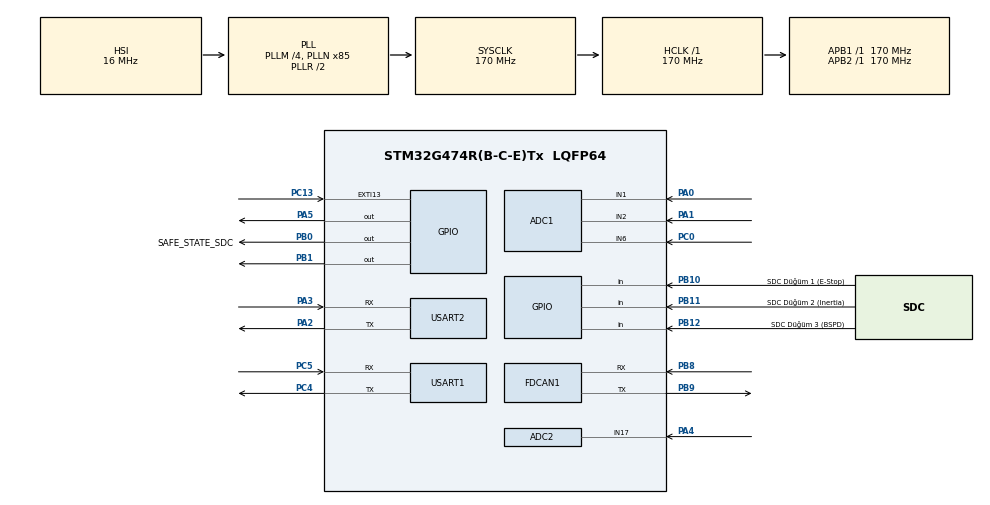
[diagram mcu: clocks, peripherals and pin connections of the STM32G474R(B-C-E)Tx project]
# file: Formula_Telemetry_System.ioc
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ADC1.Channel-0\#ChannelRegularConversion=ADC_CHANNEL_TEMPSENSOR_ADC1
ADC1.NbrOfConversionFlag=1
ADC1.OffsetNumber-0\#ChannelRegularConversion=ADC_OFFSET_NONE
ADC1.Rank-0\#ChannelRegularConversion=1
ADC1.SamplingTime-0\#ChannelRegularConversion=ADC_SAMPLETIME_92CYCLES_5
ADC1.master=1
ADC2.Channel-0\#ChannelRegularConversion=ADC_CHANNEL_17
ADC2.NbrOfConversionFlag=1
ADC2.OffsetNumber-0\#ChannelRegularConversion=ADC_OFFSET_NONE
ADC2.Rank-0\#ChannelRegularConversion=1
ADC2.SamplingTime-0\#ChannelRegularConversion=ADC_SAMPLETIME_2CYCLES_5
Dma.Request0=USART1_TX
Dma.USART1_TX.0.Direction=DMA_MEMORY_TO_PERIPH
Dma.USART1_TX.0.EventEnable=DISABLE
Dma.USART1_TX.0.Instance=DMA1_Channel1
Dma.USART1_TX.0.MemDataAlignment=DMA_MDATAALIGN_BYTE
Dma.USART1_TX.0.MemInc=DMA_MINC_ENABLE
Dma.USART1_TX.0.Mode=DMA_NORMAL
Dma.USART1_TX.0.PeriphDataAlignment=DMA_PDATAALIGN_BYTE
Dma.USART1_TX.0.PeriphInc=DMA_PINC_DISABLE
Dma.USART1_TX.0.Polarity=HAL_DMAMUX_REQ_GEN_RISING
Dma.USART1_TX.0.Priority=DMA_PRIORITY_LOW
Dma.USART1_TX.0.RequestNumber=1
Dma.USART1_TX.0.SignalID=NONE
Dma.USART1_TX.0.SyncEnable=DISABLE
Dma.USART1_TX.0.SyncPolarity=HAL_DMAMUX_SYNC_NO_EVENT
Dma.USART1_TX.0.SyncRequestNumber=1
Dma.USART1_TX.0.SyncSignalID=NONE
FDCAN1.CalculateBaudRateNominal=3541666
FDCAN1.CalculateTimeBitNominal=282
FDCAN1.CalculateTimeQuantumNominal=94.11764705882354
Mcu.Family=STM32G4
Mcu.Name=STM32G474R(B-C-E)Tx
Mcu.Package=LQFP64
NUCLEO-G474RE.BUTTON=1
NUCLEO-G474RE.LD2=true
NUCLEO-G474RE.VCP=true
NVIC.DMA1_Channel1_IRQn=true\:0\:0\:false\:false\:true\:false\:true\:true
NVIC.EXTI15_10_IRQn=true\:0\:0\:false\:false\:true\:true\:true\:true
NVIC.PriorityGroup=NVIC_PRIORITYGROUP_4
NVIC.TIM3_IRQn=true\:0\:0\:false\:false\:true\:true\:true\:true
NVIC.USART1_IRQn=true\:0\:0\:false\:false\:true\:true\:true\:true
PA0.Mode=IN1-Single-Ended
PA0.Signal=ADC1_IN1
PA1.Mode=IN2-Single-Ended
PA1.Signal=ADC1_IN2
PA13.GPIO_Label=T_SWDIO
PA13.Signal=SYS_JTMS-SWDIO
PA14.GPIO_Label=T_SWCLK
PA14.Signal=SYS_JTCK-SWCLK
PA2.Mode=Asynchronous
PA2.Signal=USART2_TX
PA3.Mode=Asynchronous
PA3.Signal=USART2_RX
PA4.Mode=IN17-Single-Ended
PA4.Signal=ADC2_IN17
PA5.Signal=GPIO_Output
PA5.Stacked=true
PB0.GPIO_Label=SAFE_STATE_SDC
PB0.Signal=GPIO_Output
PB1.Signal=GPIO_Output
PB10.GPIO_Label=SDC D\u00FC\u011F\u00FCm 1 (E-Stop)
PB10.Signal=GPIO_Input
PB11.GPIO_Label=SDC D\u00FC\u011F\u00FCm 2 (Inertia)
PB11.Signal=GPIO_Input
PB12.GPIO_Label=SDC D\u00FC\u011F\u00FCm 3 (BSPD)
PB12.Signal=GPIO_Input
PB3.GPIO_Label=T_SWO
PB3.Signal=SYS_JTDO-SWO
PB8-BOOT0.Mode=FDCAN_Activate
PB8-BOOT0.Signal=FDCAN1_RX
PB9.Mode=FDCAN_Activate
PB9.Signal=FDCAN1_TX
PC0.Mode=IN6-Single-Ended
PC0.Signal=ADC1_IN6
PC10.Signal=USART3_TX
PC11.Signal=USART3_RX
PC13.Signal=GPXTI13
PC14-OSC32_IN.GPIO_Label=RCC_OSC32_IN
PC14-OSC32_IN.Signal=RCC_OSC32_IN
PC15-OSC32_OUT.GPIO_Label=RCC_OSC32_OUT
PC15-OSC32_OUT.Signal=RCC_OSC32_OUT
PC4.Mode=Asynchronous
PC4.Signal=USART1_TX
PC5.Mode=Asynchronous
PC5.Signal=USART1_RX
PF0-OSC_IN.GPIO_Label=RCC_OSC_IN
PF0-OSC_IN.Signal=RCC_OSC_IN
PF1-OSC_OUT.GPIO_Label=RCC_OSC_OUT
PF1-OSC_OUT.Signal=RCC_OSC_OUT
ProjectManager.HeapSize=0x200
ProjectManager.StackSize=0x400
ProjectManager.TargetToolchain=STM32CubeIDE
RCC.ADC12Freq_Value=170000000
RCC.ADC345Freq_Value=170000000
RCC.AHBFreq_Value=170000000
RCC.APB1Freq_Value=170000000
RCC.APB1TimFreq_Value=170000000
RCC.APB2Freq_Value=170000000
RCC.APB2TimFreq_Value=170000000
RCC.CortexFreq_Value=170000000
RCC.EXTERNAL_CLOCK_VALUE=12288000
RCC.HCLKFreq_Value=170000000
RCC.HSE_VALUE=24000000
RCC.HSI48_VALUE=48000000
RCC.HSI_VALUE=16000000
RCC.LSE_VALUE=32768
RCC.PLLM=RCC_PLLM_DIV4
RCC.PLLN=85
RCC.RTCClockSelection=RCC_RTCCLKSOURCE_LSE
RCC.SYSCLKFreq_VALUE=170000000
RCC.SYSCLKSource=RCC_SYSCLKSOURCE_PLLCLK
RCC.USBFreq_Value=170000000
RCC.VCOOutputFreq_Value=340000000
TIM3.PeriodNoDither=999
TIM3.Prescaler=169
USART1.VirtualMode-Asynchronous=VM_ASYNC
VP_ADC1_TempSens_Input.Mode=IN-TempSens
VP_NUCLEO-G474RE_VS_BSP_COMMON.Mode=COMMON
VP_SYS_VS_DBSignals.Mode=DisableDeadBatterySignals
VP_TIM3_VS_ClockSourceINT.Mode=Internal
board=NUCLEO-G474RE

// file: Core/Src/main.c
/* USER CODE BEGIN Header */
/**
  ******************************************************************************
  * @file           : main.c
  * @brief          : Main program body - APPS T11.8 & DMA Telemetry Pipeline
  ******************************************************************************
  * @attention
  *
  * Copyright (c) 2026 STMicroelectronics.
  * All rights reserved.
  ******************************************************************************
  */
/* USER CODE END Header */
#include "main.h"

/* USER CODE BEGIN Includes */
#include <stdio.h>
#include <string.h>
#include <stdbool.h>
#include "app_config.h"
#include "telemetry.h"
#include "pedal.h"
#include "safety.h"
#include "simulation.h"
/* USER CODE END Includes */

COM_InitTypeDef BspCOMInit;
ADC_HandleTypeDef hadc1;
ADC_HandleTypeDef hadc2;

FDCAN_HandleTypeDef hfdcan1;

TIM_HandleTypeDef htim3;

UART_HandleTypeDef huart1;
DMA_HandleTypeDef hdma_usart1_tx;

/* USER CODE BEGIN PV */
/* DMA & Zamanlama Değişkenleri */
volatile uint8_t dma_tx_busy = 0;
uint32_t         last_tx_time = 0;

/* Analog Sensör Değişkenleri */
uint16_t adc1_raw_apps1 = 0;
uint16_t adc1_raw_apps2 = 0;

/* T11.8 Güvenlik & Simülasyon Değişkenleri */
volatile uint16_t sim_raw_apps1 = 2250;
volatile uint16_t sim_raw_apps2 = 2250;
volatile uint8_t  apps1_pct = 0;
volatile uint8_t  apps2_pct = 0;

SimVehicleState_t sim_state;
/* USER CODE END PV */

void SystemClock_Config(void);
static void MX_GPIO_Init(void);
static void MX_DMA_Init(void);
static void MX_USART1_UART_Init(void);
static void MX_ADC1_Init(void);
static void MX_ADC2_Init(void);
static void MX_FDCAN1_Init(void);
static void MX_TIM3_Init(void);
/* USER CODE BEGIN PFP */
uint16_t Read_ADC_Channel(ADC_HandleTypeDef *hadc, uint32_t channel);
/* USER CODE END PFP */

/* USER CODE BEGIN 0 */
/**
 * @brief  Tekli ADC kanalı okuma yardımcı fonksiyonu
 */
uint16_t Read_ADC_Channel(ADC_HandleTypeDef *hadc, uint32_t channel)
{
    ADC_ChannelConfTypeDef sConfig = {0};
    sConfig.Channel = channel;
    sConfig.Rank = ADC_REGULAR_RANK_1;
    sConfig.SamplingTime = ADC_SAMPLETIME_92CYCLES_5;
    sConfig.SingleDiff = ADC_SINGLE_ENDED;
    sConfig.OffsetNumber = ADC_OFFSET_NONE;

    HAL_ADC_ConfigChannel(hadc, &sConfig);
    HAL_ADC_Start(hadc);
    HAL_ADC_PollForConversion(hadc, 10);
    uint16_t val = (uint16_t)HAL_ADC_GetValue(hadc);
    HAL_ADC_Stop(hadc);
    return val;
}
/* USER CODE END 0 */

int main(void)
{
  /* MCU Configuration--------------------------------------------------------*/
  HAL_Init();
  SystemClock_Config();

  /* Initialize all configured peripherals */
  MX_GPIO_Init();
  MX_DMA_Init();
  MX_USART1_UART_Init();
  MX_ADC1_Init();
  MX_ADC2_Init();
  MX_FDCAN1_Init();
  MX_TIM3_Init();

  /* USER CODE BEGIN 2 */
  Telemetry_Init();
  Pedal_Init();
  Safety_Init();
  Simulation_Init(&sim_state);

  // Başlangıçta Safe State devresini aktif yap (3.3V Sürüş İzni)
  HAL_GPIO_WritePin(GPIOB, GPIO_PIN_0, GPIO_PIN_SET);

  // TIM3 1 ms Donanımsal Emniyet Kesmesini Başlat
  HAL_TIM_Base_Start_IT(&htim3);
  /* USER CODE END 2 */

  /* Initialize led */
  BSP_LED_Init(LED_GREEN);

  /* Initialize USER push-button */
  BSP_PB_Init(BUTTON_USER, BUTTON_MODE_EXTI);

  /* Initialize COM1 port */
  BspCOMInit.BaudRate   = 115200;
  BspCOMInit.WordLength = COM_WORDLENGTH_8B;
  BspCOMInit.StopBits   = COM_STOPBITS_1;
  BspCOMInit.Parity     = COM_PARITY_NONE;
  BspCOMInit.HwFlowCtl  = COM_HWCONTROL_NONE;
  if (BSP_COM_Init(COM1, &BspCOMInit) != BSP_ERROR_NONE)
  {
    Error_Handler();
  }

  /* Infinite loop */
  while (1)
  {

    /* USER CODE BEGIN 3 */
    // 50 ms (20 Hz) Asenkron DMA Telemetri Gönderim Döngüsü
    if (HAL_GetTick() - last_tx_time >= TELEMETRY_PERIOD_MS)
    {
        last_tx_time = HAL_GetTick();

        // 1. Simülasyon adımını ilerlet
        Simulation_Step(&sim_state);

        // 2. DMA hattı boşsa paketi hazırla ve gönder
        if (dma_tx_busy == 0)
        {
            Telemetry_PrepareFrame(sim_state.rpm, (uint8_t)sim_state.speed,
                                   sim_state.gear, sim_state.tps);
            dma_tx_busy = 1;

            HAL_UART_Transmit_DMA(&huart1, tx_raw_buf, sizeof(tx_raw_buf));
            HAL_GPIO_TogglePin(GPIOA, GPIO_PIN_5);
        }
    }
  }
  /* USER CODE END 3 */
}

void SystemClock_Config(void)
{
  RCC_OscInitTypeDef RCC_OscInitStruct = {0};
  RCC_ClkInitTypeDef RCC_ClkInitStruct = {0};

  HAL_PWREx_ControlVoltageScaling(PWR_REGULATOR_VOLTAGE_SCALE1_BOOST);

  RCC_OscInitStruct.OscillatorType = RCC_OSCILLATORTYPE_HSI;
  RCC_OscInitStruct.HSIState = RCC_HSI_ON;
  RCC_OscInitStruct.HSICalibrationValue = RCC_HSICALIBRATION_DEFAULT;
  RCC_OscInitStruct.PLL.PLLState = RCC_PLL_ON;
  RCC_OscInitStruct.PLL.PLLSource = RCC_PLLSOURCE_HSI;
  RCC_OscInitStruct.PLL.PLLM = RCC_PLLM_DIV4;
  RCC_OscInitStruct.PLL.PLLN = 85;
  RCC_OscInitStruct.PLL.PLLP = RCC_PLLP_DIV2;
  RCC_OscInitStruct.PLL.PLLQ = RCC_PLLQ_DIV2;
  RCC_OscInitStruct.PLL.PLLR = RCC_PLLR_DIV2;
  if (HAL_RCC_OscConfig(&RCC_OscInitStruct) != HAL_OK)
  {
    Error_Handler();
  }

  RCC_ClkInitStruct.ClockType = RCC_CLOCKTYPE_HCLK|RCC_CLOCKTYPE_SYSCLK
                              |RCC_CLOCKTYPE_PCLK1|RCC_CLOCKTYPE_PCLK2;
  RCC_ClkInitStruct.SYSCLKSource = RCC_SYSCLKSOURCE_PLLCLK;
  RCC_ClkInitStruct.AHBCLKDivider = RCC_SYSCLK_DIV1;
  RCC_ClkInitStruct.APB1CLKDivider = RCC_HCLK_DIV1;
  RCC_ClkInitStruct.APB2CLKDivider = RCC_HCLK_DIV1;

  if (HAL_RCC_ClockConfig(&RCC_ClkInitStruct, FLASH_LATENCY_4) != HAL_OK)
  {
    Error_Handler();
  }
}

static void MX_ADC1_Init(void)
{
  ADC_MultiModeTypeDef multimode = {0};
  ADC_ChannelConfTypeDef sConfig = {0};

  hadc1.Instance = ADC1;
  hadc1.Init.ClockPrescaler = ADC_CLOCK_SYNC_PCLK_DIV4;
  hadc1.Init.Resolution = ADC_RESOLUTION_12B;
  hadc1.Init.DataAlign = ADC_DATAALIGN_RIGHT;
  hadc1.Init.GainCompensation = 0;
  hadc1.Init.ScanConvMode = ADC_SCAN_DISABLE;
  hadc1.Init.EOCSelection = ADC_EOC_SINGLE_CONV;
  hadc1.Init.LowPowerAutoWait = DISABLE;
  hadc1.Init.ContinuousConvMode = DISABLE;
  hadc1.Init.NbrOfConversion = 1;
  hadc1.Init.DiscontinuousConvMode = DISABLE;
  hadc1.Init.ExternalTrigConv = ADC_SOFTWARE_START;
  hadc1.Init.ExternalTrigConvEdge = ADC_EXTERNALTRIGCONVEDGE_NONE;
  hadc1.Init.DMAContinuousRequests = DISABLE;
  hadc1.Init.Overrun = ADC_OVR_DATA_PRESERVED;
  hadc1.Init.OversamplingMode = DISABLE;
  if (HAL_ADC_Init(&hadc1) != HAL_OK)
  {
    Error_Handler();
  }

  multimode.Mode = ADC_MODE_INDEPENDENT;
  if (HAL_ADCEx_MultiModeConfigChannel(&hadc1, &multimode) != HAL_OK)
  {
    Error_Handler();
  }

  sConfig.Channel = ADC_CHANNEL_TEMPSENSOR_ADC1;
  sConfig.Rank = ADC_REGULAR_RANK_1;
  sConfig.SamplingTime = ADC_SAMPLETIME_92CYCLES_5;
  sConfig.SingleDiff = ADC_SINGLE_ENDED;
  sConfig.OffsetNumber = ADC_OFFSET_NONE;
  sConfig.Offset = 0;
  if (HAL_ADC_ConfigChannel(&hadc1, &sConfig) != HAL_OK)
  {
    Error_Handler();
  }
}

static void MX_ADC2_Init(void)
{
  ADC_ChannelConfTypeDef sConfig = {0};

  hadc2.Instance = ADC2;
  hadc2.Init.ClockPrescaler = ADC_CLOCK_SYNC_PCLK_DIV4;
  hadc2.Init.Resolution = ADC_RESOLUTION_12B;
  hadc2.Init.DataAlign = ADC_DATAALIGN_RIGHT;
  hadc2.Init.GainCompensation = 0;
  hadc2.Init.ScanConvMode = ADC_SCAN_DISABLE;
  hadc2.Init.EOCSelection = ADC_EOC_SINGLE_CONV;
  hadc2.Init.LowPowerAutoWait = DISABLE;
  hadc2.Init.ContinuousConvMode = DISABLE;
  hadc2.Init.NbrOfConversion = 1;
  hadc2.Init.DiscontinuousConvMode = DISABLE;
  hadc2.Init.ExternalTrigConv = ADC_SOFTWARE_START;
  hadc2.Init.ExternalTrigConvEdge = ADC_EXTERNALTRIGCONVEDGE_NONE;
  hadc2.Init.DMAContinuousRequests = DISABLE;
  hadc2.Init.Overrun = ADC_OVR_DATA_PRESERVED;
  hadc2.Init.OversamplingMode = DISABLE;
  if (HAL_ADC_Init(&hadc2) != HAL_OK)
  {
    Error_Handler();
  }

  sConfig.Channel = ADC_CHANNEL_17;
  sConfig.Rank = ADC_REGULAR_RANK_1;
  sConfig.SamplingTime = ADC_SAMPLETIME_2CYCLES_5;
  sConfig.SingleDiff = ADC_SINGLE_ENDED;
  sConfig.OffsetNumber = ADC_OFFSET_NONE;
  sConfig.Offset = 0;
  if (HAL_ADC_ConfigChannel(&hadc2, &sConfig) != HAL_OK)
  {
    Error_Handler();
  }
}

static void MX_FDCAN1_Init(void)
{
  hfdcan1.Instance = FDCAN1;
  hfdcan1.Init.ClockDivider = FDCAN_CLOCK_DIV1;
  hfdcan1.Init.FrameFormat = FDCAN_FRAME_CLASSIC;
  hfdcan1.Init.Mode = FDCAN_MODE_NORMAL;
  hfdcan1.Init.AutoRetransmission = DISABLE;
  hfdcan1.Init.TransmitPause = DISABLE;
  hfdcan1.Init.ProtocolException = DISABLE;
  hfdcan1.Init.NominalPrescaler = 16;
  hfdcan1.Init.NominalSyncJumpWidth = 1;
  hfdcan1.Init.NominalTimeSeg1 = 1;
  hfdcan1.Init.NominalTimeSeg2 = 1;
  hfdcan1.Init.DataPrescaler = 1;
  hfdcan1.Init.DataSyncJumpWidth = 1;
  hfdcan1.Init.DataTimeSeg1 = 1;
  hfdcan1.Init.DataTimeSeg2 = 1;
  hfdcan1.Init.StdFiltersNbr = 0;
  hfdcan1.Init.ExtFiltersNbr = 0;
  hfdcan1.Init.TxFifoQueueMode = FDCAN_TX_FIFO_OPERATION;
  if (HAL_FDCAN_Init(&hfdcan1) != HAL_OK)
  {
    Error_Handler();
  }
}

static void MX_TIM3_Init(void)
{
  TIM_ClockConfigTypeDef sClockSourceConfig = {0};
  TIM_MasterConfigTypeDef sMasterConfig = {0};

  htim3.Instance = TIM3;
  htim3.Init.Prescaler = 169;
  htim3.Init.CounterMode = TIM_COUNTERMODE_UP;
  htim3.Init.Period = 999;
  htim3.Init.ClockDivision = TIM_CLOCKDIVISION_DIV1;
  htim3.Init.AutoReloadPreload = TIM_AUTORELOAD_PRELOAD_DISABLE;
  if (HAL_TIM_Base_Init(&htim3) != HAL_OK)
  {
    Error_Handler();
  }
  sClockSourceConfig.ClockSource = TIM_CLOCKSOURCE_INTERNAL;
  if (HAL_TIM_ConfigClockSource(&htim3, &sClockSourceConfig) != HAL_OK)
  {
    Error_Handler();
  }
  sMasterConfig.MasterOutputTrigger = TIM_TRGO_RESET;
  sMasterConfig.MasterSlaveMode = TIM_MASTERSLAVEMODE_DISABLE;
  if (HAL_TIMEx_MasterConfigSynchronization(&htim3, &sMasterConfig) != HAL_OK)
  {
    Error_Handler();
  }
}

static void MX_USART1_UART_Init(void)
{
  huart1.Instance = USART1;
  huart1.Init.BaudRate = 115200;
  huart1.Init.WordLength = UART_WORDLENGTH_8B;
  huart1.Init.StopBits = UART_STOPBITS_1;
  huart1.Init.Parity = UART_PARITY_NONE;
  huart1.Init.Mode = UART_MODE_TX_RX;
  huart1.Init.HwFlowCtl = UART_HWCONTROL_NONE;
  huart1.Init.OverSampling = UART_OVERSAMPLING_16;
  huart1.Init.OneBitSampling = UART_ONE_BIT_SAMPLE_DISABLE;
  huart1.Init.ClockPrescaler = UART_PRESCALER_DIV1;
  huart1.AdvancedInit.AdvFeatureInit = UART_ADVFEATURE_NO_INIT;
  if (HAL_UART_Init(&huart1) != HAL_OK)
  {
    Error_Handler();
  }
  if (HAL_UARTEx_SetTxFifoThreshold(&huart1, UART_TXFIFO_THRESHOLD_1_8) != HAL_OK)
  {
    Error_Handler();
  }
  if (HAL_UARTEx_SetRxFifoThreshold(&huart1, UART_RXFIFO_THRESHOLD_1_8) != HAL_OK)
  {
    Error_Handler();
  }
  if (HAL_UARTEx_DisableFifoMode(&huart1) != HAL_OK)
  {
    Error_Handler();
  }
}

static void MX_DMA_Init(void)
{
  __HAL_RCC_DMAMUX1_CLK_ENABLE();
  __HAL_RCC_DMA1_CLK_ENABLE();

  HAL_NVIC_SetPriority(DMA1_Channel1_IRQn, 0, 0);
  HAL_NVIC_EnableIRQ(DMA1_Channel1_IRQn);
}

static void MX_GPIO_Init(void)
{
  GPIO_InitTypeDef GPIO_InitStruct = {0};

  __HAL_RCC_GPIOC_CLK_ENABLE();
  __HAL_RCC_GPIOF_CLK_ENABLE();
  __HAL_RCC_GPIOA_CLK_ENABLE();
  __HAL_RCC_GPIOB_CLK_ENABLE();

  HAL_GPIO_WritePin(GPIOB, SAFE_STATE_SDC_Pin|GPIO_PIN_1, GPIO_PIN_RESET);

  GPIO_InitStruct.Pin = SAFE_STATE_SDC_Pin|GPIO_PIN_1;
  GPIO_InitStruct.Mode = GPIO_MODE_OUTPUT_PP;
  GPIO_InitStruct.Pull = GPIO_NOPULL;
  GPIO_InitStruct.Speed = GPIO_SPEED_FREQ_LOW;
  HAL_GPIO_Init(GPIOB, &GPIO_InitStruct);

  GPIO_InitStruct.Pin = SDC_D___m_1_Pin|SDC_D___m_2_Pin|SDC_D___m_3_Pin;
  GPIO_InitStruct.Mode = GPIO_MODE_INPUT;
  GPIO_InitStruct.Pull = GPIO_NOPULL;
  HAL_GPIO_Init(GPIOB, &GPIO_InitStruct);

  GPIO_InitStruct.Pin = GPIO_PIN_10|GPIO_PIN_11;
  GPIO_InitStruct.Mode = GPIO_MODE_AF_PP;
  GPIO_InitStruct.Pull = GPIO_NOPULL;
  GPIO_InitStruct.Speed = GPIO_SPEED_FREQ_LOW;
  GPIO_InitStruct.Alternate = GPIO_AF7_USART3;
  HAL_GPIO_Init(GPIOC, &GPIO_InitStruct);
}

/* USER CODE BEGIN 4 */
/**
  * @brief  Her 1 ms'de bir donanım tarafından çağrılan kritik pedal kesmesi (T11.8)
  */
void HAL_TIM_PeriodElapsedCallback(TIM_HandleTypeDef *htim)
{
    if (htim->Instance == TIM3)
    {
        // CH0 (PB1): 1 ms referans kare dalgası (500 Hz)
        HAL_GPIO_TogglePin(GPIOB, GPIO_PIN_1);

        // 1. Pedal yüzdelerini hesapla
        apps1_pct = Pedal_Normalize(sim_raw_apps1, false);
        apps2_pct = Pedal_Normalize(sim_raw_apps2, true);

        // 2. T11.8 Plausibility kontrolü yap ve röleyi sür
        if (Safety_EvaluateT11_8(apps1_pct, apps2_pct))
        {
            HAL_GPIO_WritePin(GPIOB, GPIO_PIN_0, GPIO_PIN_SET);   // PB0 -> 3.3V (Sürüş İzni)
            tx_telemetry.error_code &= ~ERR_APPS_PLAUSIBILITY;
        }
        else
        {
            HAL_GPIO_WritePin(GPIOB, GPIO_PIN_0, GPIO_PIN_RESET); // PB0 -> 0V (Röleyi Aç)
            tx_telemetry.error_code |= ERR_APPS_PLAUSIBILITY;
        }
    }
}

/**
  * @brief  DMA gönderimi tamamen bittiğinde donanım tarafından çağrılır
  */
void HAL_UART_TxCpltCallback(UART_HandleTypeDef *huart)
{
    if (huart->Instance == USART1)
    {
        dma_tx_busy = 0;
    }
}
/* USER CODE END 4 */

void Error_Handler(void)
{
  __disable_irq();
  while (1)
  {
  }
}
